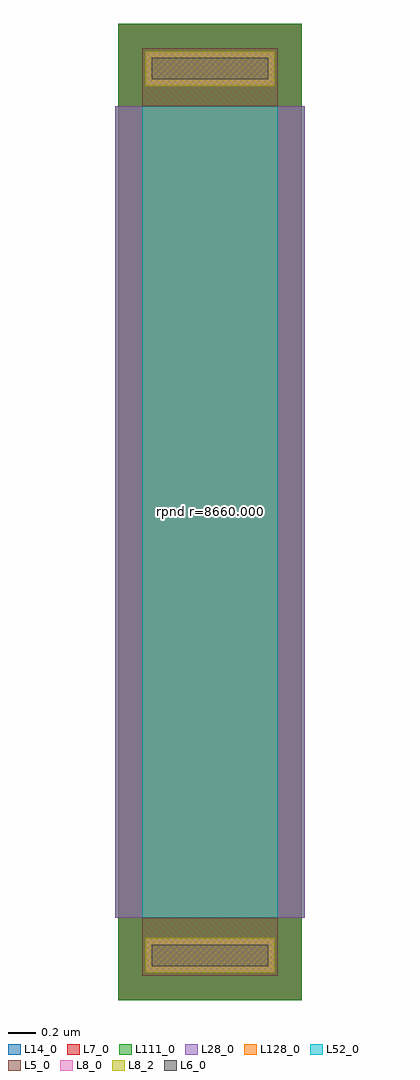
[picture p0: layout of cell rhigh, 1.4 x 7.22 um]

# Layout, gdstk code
import gdstk
lib = gdstk.Library(unit=1e-6, precision=1e-09)
def R(c, l, rs):  # rectangles x0, y0, x1, y1
    for r in rs: c.add(gdstk.rectangle(r[:2], r[2:], *l))
L5_0 = (5, 0)
L6_0 = (6, 0)
L7_0 = (7, 0)
L8_0 = (8, 0)
L8_2 = (8, 2)
L14_0 = (14, 0)
L28_0 = (28, 0)
L52_0 = (52, 0)
L111_0 = (111, 0)
L128_0 = (128, 0)

rhigh = lib.new_cell('rhigh')
R(rhigh, L5_0, [(0,-0.43,1,0), (0,6,1,6.43)])
R(rhigh, L6_0, [(0.07,-0.36,0.93,-0.2), (0.07,6.2,0.93,6.36)])
R(rhigh, L7_0, [(-0.18,-0.61,1.18,0.18), (-0.18,0,1.18,6), (-0.18,0,1.18,6), (-0.18,5.82,1.18,6.61)])
R(rhigh, L8_0, [(0.02,-0.41,0.98,-0.15), (0.02,6.15,0.98,6.41)])
R(rhigh, L8_2, [(0.02,-0.41,0.98,-0.15), (0.02,6.15,0.98,6.41)])
R(rhigh, L14_0, [(-0.18,-0.61,1.18,0.18), (-0.18,0,1.18,6), (-0.18,0,1.18,6), (-0.18,5.82,1.18,6.61)])
R(rhigh, L28_0, [(-0.2,0,1.2,6)])
R(rhigh, L52_0, [(0,0,1,6)])
R(rhigh, L111_0, [(-0.18,-0.61,1.18,0.18), (-0.2,0,1.2,6), (-0.18,5.82,1.18,6.61)])
R(rhigh, L128_0, [(0,0,1,6)])
rhigh.add(gdstk.Label('rpnd r=8660.000', (0.5,3), layer=63, texttype=0))
rhigh.add(gdstk.Label('rhigh', (0.5,3), layer=52, texttype=0))

lib.write_gds('rhigh.gds')
